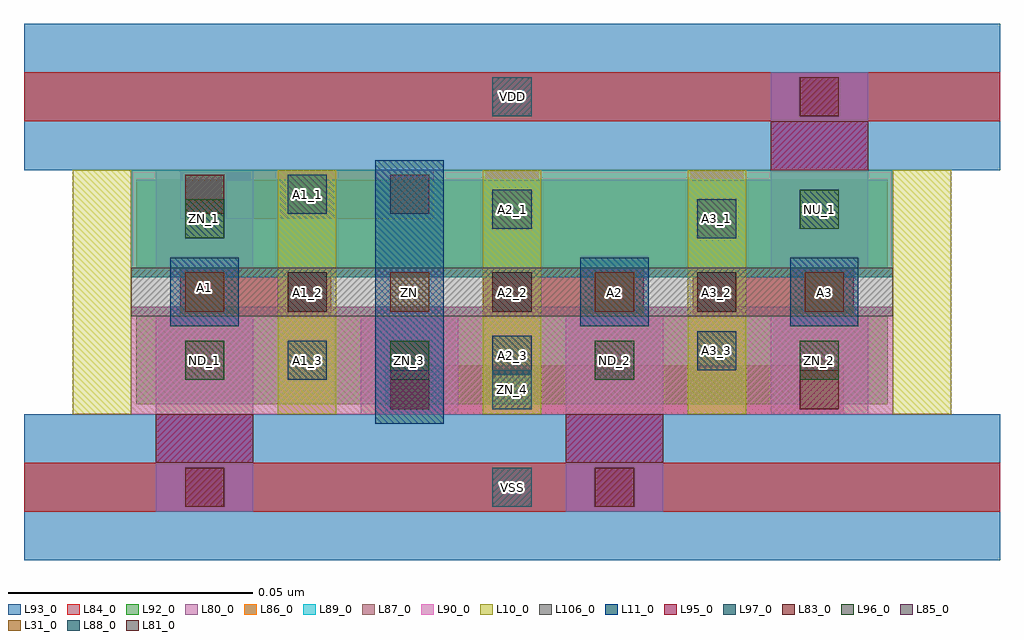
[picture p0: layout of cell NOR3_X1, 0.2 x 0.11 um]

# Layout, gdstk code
import gdstk
lib = gdstk.Library(unit=1e-6, precision=1e-09)
def R(c, l, rs):  # rectangles x0, y0, x1, y1
    for r in rs: c.add(gdstk.rectangle(r[:2], r[2:], *l))
def A(c, l, x, y, w, h, nx, ny, dx, dy):  # array of equal rectangles
    R(c, l, [(x+i*dx, y+j*dy, x+i*dx+w, y+j*dy+h) for i in range(nx) for j in range(ny)])
L10_0 = (10, 0)
L11_0 = (11, 0)
L31_0 = (31, 0)
L80_0 = (80, 0)
L81_0 = (81, 0)
L83_0 = (83, 0)
L84_0 = (84, 0)
L85_0 = (85, 0)
L86_0 = (86, 0)
L87_0 = (87, 0)
L88_0 = (88, 0)
L89_0 = (89, 0)
L90_0 = (90, 0)
L92_0 = (92, 0)
L93_0 = (93, 0)
L95_0 = (95, 0)
L96_0 = (96, 0)
L97_0 = (97, 0)
L106_0 = (106, 0)

nor3_x1 = lib.new_cell('NOR3_X1')
A(nor3_x1, L10_0, -0.027, 0.015, 0.012, 0.05, 5, 1, 0.042, 0)
R(nor3_x1, L11_0, [(0.035,0.013,0.049,0.047), (-0.007,0.033,0.007,0.047), (0.035,0.033,0.049,0.067), (0.077,0.033,0.091,0.047), (0.12,0.033,0.134,0.047)])
A(nor3_x1, L31_0, -0.004, 0.036, 0.008, 0.008, 3, 1, 0.042, 0)
R(nor3_x1, L31_0, [(0.123,0.036,0.131,0.044)])
A(nor3_x1, L80_0, -0.01, 0.015, 0.02, 0.02, 4, 1, 0.042, 0)
R(nor3_x1, L80_0, [(-0.01,-0.005,0.01,0.016), (0.074,-0.005,0.094,0.016), (-0.01,0.045,0.01,0.065), (-0.01,0.045,0.01,0.065), (0.116,0.045,0.136,0.065), (0.116,0.045,0.136,0.065), (0.116,0.056,0.136,0.085)])
A(nor3_x1, L81_0, 0.017, 0.036, 0.008, 0.008, 3, 1, 0.042, 0)
R(nor3_x1, L83_0, [(-0.004,-0.004,0.004,0.004), (0.08,-0.004,0.088,0.004), (0.038,0.016,0.046,0.024), (0.122,0.016,0.13,0.024), (-0.004,0.056,0.004,0.064), (-0.004,0.056,0.004,0.064), (0.122,0.076,0.13,0.084)])
A(nor3_x1, L84_0, 0.037, 0.015, 0.031, 0.01, 4, 1, 0.021, 0)
R(nor3_x1, L84_0, [(-0.037,-0.005,0.163,0.005), (-0.005,0.035,0.026,0.045), (0.057,0.035,0.09,0.045), (0.1,0.035,0.133,0.045), (-0.005,0.055,0.026,0.065), (0.016,0.055,0.047,0.065), (-0.037,0.075,0.163,0.085)])
R(nor3_x1, L85_0, [(0.038,0.016,0.046,0.024), (-0.004,0.036,0.004,0.044), (0.08,0.036,0.088,0.044), (0.123,0.036,0.131,0.044), (0.038,0.056,0.046,0.064)])
R(nor3_x1, L86_0, [(-0.015,0.043,0.141,0.065)])
R(nor3_x1, L87_0, [(-0.015,0.015,0.141,0.037)])
R(nor3_x1, L88_0, [(0.059,-0.004,0.067,0.004), (0.059,0.016,0.067,0.024), (0.059,0.076,0.067,0.084)])
R(nor3_x1, L89_0, [(-0.015,0.043,0.141,0.065)])
R(nor3_x1, L90_0, [(-0.015,0.015,0.141,0.037)])
R(nor3_x1, L92_0, [(-0.014,0.017,0.14,0.035), (-0.014,0.045,0.14,0.063)])
R(nor3_x1, L93_0, [(-0.037,-0.015,0.163,0.015), (-0.037,0.065,0.163,0.095)])
R(nor3_x1, L95_0, [(-0.01,0.005,0.01,0.015), (0.074,0.005,0.094,0.015), (0.116,0.065,0.136,0.075)])
A(nor3_x1, L96_0, -0.004, 0.022, 0.008, 0.008, 4, 1, 0.042, 0)
R(nor3_x1, L96_0, [(-0.004,0.051,0.004,0.059), (0.122,0.053,0.13,0.061)])
A(nor3_x1, L97_0, 0.017, 0.036, 0.008, 0.008, 3, 1, 0.042, 0)
R(nor3_x1, L97_0, [(0.017,0.022,0.025,0.03), (0.059,0.023,0.067,0.031), (0.101,0.024,0.109,0.032), (0.101,0.051,0.109,0.059), (0.059,0.053,0.067,0.061), (0.017,0.056,0.025,0.064)])
R(nor3_x1, L106_0, [(-0.015,0.035,0.141,0.045)])
nor3_x1.add(gdstk.Label('ZN_4', (0.063,0.02), layer=88, texttype=0))
nor3_x1.add(gdstk.Label('VSS', (0.063,0), layer=88, texttype=0))
nor3_x1.add(gdstk.Label('VDD', (0.063,0.08), layer=88, texttype=0))
nor3_x1.add(gdstk.Label('ZN_3', (0.042,0.026), layer=96, texttype=0))
nor3_x1.add(gdstk.Label('ZN_2', (0.126,0.026), layer=96, texttype=0))
nor3_x1.add(gdstk.Label('ZN_1', (0,0.055), layer=96, texttype=0))
nor3_x1.add(gdstk.Label('ND_1', (0,0.026), layer=96, texttype=0))
nor3_x1.add(gdstk.Label('ND_2', (0.084,0.026), layer=96, texttype=0))
nor3_x1.add(gdstk.Label('NU_1', (0.126,0.057), layer=96, texttype=0))
nor3_x1.add(gdstk.Label('A3', (0.127,0.04), layer=31, texttype=0))
nor3_x1.add(gdstk.Label('A2', (0.084,0.04), layer=31, texttype=0))
nor3_x1.add(gdstk.Label('A1', (0,0.041), layer=31, texttype=0))
nor3_x1.add(gdstk.Label('ZN', (0.042,0.04), layer=31, texttype=0))
nor3_x1.add(gdstk.Label('A3_3', (0.105,0.028), layer=97, texttype=0))
nor3_x1.add(gdstk.Label('A3_2', (0.105,0.04), layer=97, texttype=0))
nor3_x1.add(gdstk.Label('A3_1', (0.105,0.055), layer=97, texttype=0))
nor3_x1.add(gdstk.Label('A2_3', (0.063,0.027), layer=97, texttype=0))
nor3_x1.add(gdstk.Label('A2_2', (0.063,0.04), layer=97, texttype=0))
nor3_x1.add(gdstk.Label('A2_1', (0.063,0.057), layer=97, texttype=0))
nor3_x1.add(gdstk.Label('A1_3', (0.021,0.026), layer=97, texttype=0))
nor3_x1.add(gdstk.Label('A1_2', (0.021,0.04), layer=97, texttype=0))
nor3_x1.add(gdstk.Label('A1_1', (0.021,0.06), layer=97, texttype=0))

lib.write_gds('NOR3_X1.gds')
